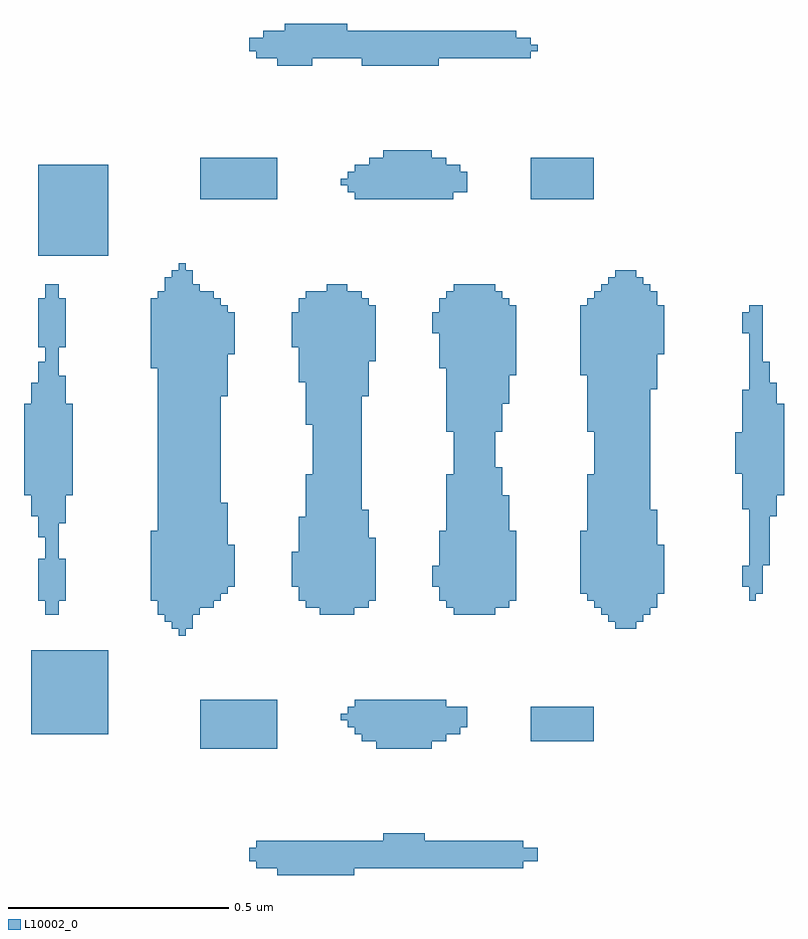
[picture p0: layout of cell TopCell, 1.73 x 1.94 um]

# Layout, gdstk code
import gdstk
lib = gdstk.Library(unit=1e-6, precision=1e-09)
def R(c, l, rs):  # rectangles x0, y0, x1, y1
    for r in rs: c.add(gdstk.rectangle(r[:2], r[2:], *l))
L10002_0 = (10002, 0)

topcell = lib.new_cell('TopCell')
R(topcell, L10002_0, [(1.36,0.448,1.535,0.527), (1.312,0.464,1.36,0.527), (1.535,0.464,1.919,0.527), (1.296,0.48,1.312,0.511), (1.919,0.48,1.951,0.511), (1.6,0.527,1.695,0.543), (1.184,0.736,1.359,0.847), (1.584,0.736,1.711,0.847), (1.552,0.752,1.584,0.847), (1.711,0.752,1.743,0.847), (1.936,0.752,2.079,0.831), (0.8,0.768,0.975,0.959), (1.536,0.768,1.552,0.847), (1.743,0.768,1.775,0.831), (1.52,0.784,1.536,0.831), (1.775,0.784,1.791,0.831), (1.504,0.8,1.52,0.815), (1.136,0.992,1.151,1.839), (1.12,1.008,1.136,1.823), (1.151,1.008,1.167,1.823), (2.128,1.008,2.175,1.823), (1.104,1.024,1.12,1.807), (2.112,1.024,2.128,1.807), (2.175,1.024,2.191,1.807), (0.832,1.04,0.863,1.791), (1.088,1.04,1.104,1.775), (1.167,1.04,1.183,1.791), (1.456,1.04,1.535,1.775), (1.76,1.04,1.855,1.791), (2.096,1.04,2.112,1.791), (2.191,1.04,2.207,1.791), (1.183,1.056,1.215,1.775), (1.424,1.056,1.456,1.359), (1.535,1.056,1.551,1.775), (1.551,1.056,1.567,1.279), (1.744,1.056,1.76,1.359), (1.855,1.056,1.871,1.375), (1.871,1.056,1.887,1.311), (2.08,1.056,2.096,1.775), (2.207,1.056,2.223,1.279), (0.816,1.072,0.832,1.167), (0.863,1.072,0.879,1.167), (1.072,1.072,1.088,1.231), (1.215,1.072,1.231,1.759), (1.408,1.072,1.424,1.263), (1.567,1.072,1.583,1.215), (1.728,1.072,1.744,1.231), (1.887,1.072,1.903,1.231), (2.064,1.072,2.08,1.359), (2.432,1.072,2.447,1.743), (1.231,1.088,1.247,1.295), (2.048,1.088,2.064,1.231), (2.223,1.088,2.239,1.199), (2.447,1.088,2.463,1.743), (1.247,1.104,1.263,1.199), (1.392,1.104,1.408,1.183), (1.712,1.104,1.728,1.151), (2.416,1.104,2.432,1.151), (2.463,1.152,2.479,1.615), (0.816,1.216,0.832,1.615), (0.863,1.248,0.879,1.583), (0.8,1.264,0.816,1.567), (2.479,1.264,2.495,1.567), (2.416,1.28,2.432,1.551), (0.784,1.312,0.8,1.519), (0.879,1.312,0.895,1.519), (2.495,1.312,2.511,1.519), (1.44,1.359,1.456,1.775), (2.4,1.36,2.416,1.455), (1.744,1.456,1.76,1.775), (1.855,1.456,1.871,1.775), (2.064,1.456,2.08,1.759), (1.424,1.472,1.44,1.775), (1.871,1.52,1.887,1.759), (1.231,1.536,1.247,1.743), (1.551,1.536,1.567,1.759), (2.207,1.552,2.223,1.775), (1.408,1.568,1.424,1.759), (1.887,1.584,1.903,1.743), (2.048,1.584,2.064,1.743), (1.072,1.6,1.088,1.759), (1.728,1.6,1.744,1.759), (1.567,1.616,1.583,1.743), (1.247,1.632,1.263,1.727), (2.223,1.632,2.239,1.743), (0.816,1.648,0.832,1.759), (0.863,1.648,0.879,1.759), (1.392,1.648,1.408,1.727), (1.712,1.68,1.728,1.727), (2.416,1.68,2.432,1.727), (1.472,1.775,1.519,1.791), (0.816,1.856,0.975,2.063), (1.184,1.984,1.359,2.079), (1.536,1.984,1.759,2.063), (1.936,1.984,2.079,2.079), (1.52,2,1.536,2.047), (1.759,2,1.775,2.063), (1.775,2,1.791,2.047), (1.504,2.016,1.52,2.031), (1.568,2.063,1.743,2.079), (1.6,2.079,1.711,2.095), (1.36,2.288,1.439,2.367), (1.552,2.288,1.727,2.367), (1.312,2.304,1.36,2.351), (1.439,2.304,1.519,2.383), (1.519,2.304,1.552,2.367), (1.727,2.304,1.903,2.367), (1.903,2.304,1.935,2.351), (1.296,2.32,1.312,2.351), (1.935,2.32,1.951,2.335), (1.328,2.351,1.36,2.367), (1.376,2.367,1.439,2.383)])

lib.write_gds('TopCell.gds')
